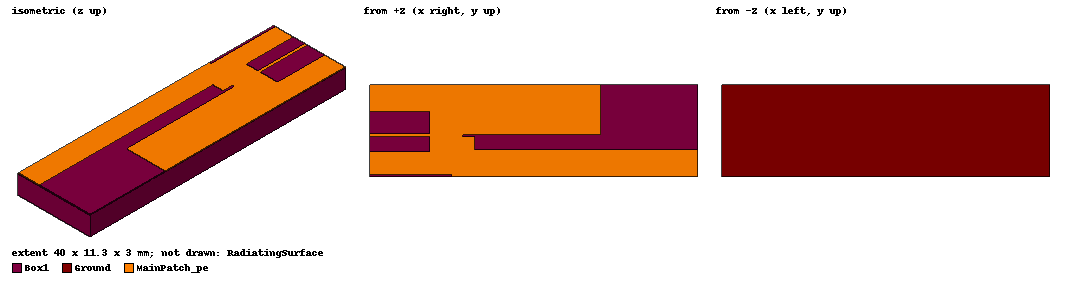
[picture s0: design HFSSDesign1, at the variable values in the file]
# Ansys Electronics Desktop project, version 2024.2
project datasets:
  $avg_epsilon_r: (10, 13000000) (100, 4500000) (1000, 180000) (10000, 12000) (100000, 4000) (1000000, 150) (10000000, 100) (100000000, 40) (1000000000, 31) (10000000000, 25)
  $avg_conductivity: (10, 0.1) (100, 0.13) (1000, 0.15) (10000, 0.17) (100000, 0.2) (1000000, 0.24) (10000000, 0.3) (100000000, 0.4) (1000000000, 0.8) (10000000000, 8)
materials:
  vacuum: permittivity=1
  marble: permittivity=8.3
  felt: permittivity=1.63 dielectric_loss_tangent=0.044
  humanaverage: permittivity=pwl($avg_epsilon_r,Freq) conductivity=pwl($avg_conductivity,Freq)

design HFSSDesign1 (HFSS, HFSS Terminal Network, model units mm)
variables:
  a = 0mm
  b = 0mm
  c = 0mm
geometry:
  Box1 [felt] = box(corner=(0mm, 0mm, 0mm), size=(40mm, 11.3mm, -3mm))
  Ground = rectangle(corner=(0mm, 0mm, -3mm), x_size=40mm, y_size=11.3mm)
  MainPatch_pe = rectangle(corner=(0mm, 0mm, 0mm), x_size=40mm, y_size=11.3mm)
  Top_Left_Rec = rectangle(corner=(40mm, 11.3mm, 0mm), x_size=-11.8mm, y_size=-6.1mm)
  Feed_left_Rec = rectangle(corner=(0mm, 8mm, 0mm), x_size=7.36mm, y_size=-2.7mm)
  RadiatingSurface [vacuum] = region(absolute_offset=40.816327mm on all sides)
  Divide_BigRec = rectangle(corner=(40mm, 5.2mm, 0mm), x_size=-27.2mm, y_size=-1.9mm)
  Center_pointRec = rectangle(corner=(12.8mm, 5.2mm, 0mm), x_size=-1.5mm, y_size=-0.3mm)
  Rectangle11 = rectangle(corner=(0mm, 6.2mm, 0mm), y_size=-2.2mm, z_size=-3mm)
  Feed_Right_Rec = rectangle(corner=(0mm, 4.9mm, 0mm), x_size=7.36mm, y_size=-1.8mm)
  LineRec_along_X_Main = rectangle(corner=(0mm, 0mm, 0mm), x_size=10mm, y_size=0.3mm)
  MainPatch_pe.subtract(Top_Left_Rec)
  MainPatch_pe.subtract(Center_pointRec, Divide_BigRec)
  MainPatch_pe.subtract(Feed_left_Rec, Feed_Right_Rec)
  MainPatch_pe.subtract(LineRec_along_X_Main)
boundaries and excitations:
  PerfE1: Perfect E Objects=Ground
  PerfE2: Perfect E Objects=MainPatch_pe
  Open1: Radiation Objects=RadiatingSurface
  1: Lumped Port Objects=Rectangle11 LumpedPortType=Modal Modes{Mode1{IntLine{(0, 5.1, -3) -> (0, 5.1, 0)} CharImp=Zpi}} Impedance=50ohm
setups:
  Setup1: HfssDriven Frequency=2.45GHz MaxDeltaS=0.02 MaximumPasses=10 MinimumPasses=1 MinimumConvergedPasses=1 PercentRefinement=30 BasisOrder=1 PortAccuracy=2 DrivenSolverType="Direct Solver"
    sweep Sweep: 0.5GHz to 8GHz step 0.01GHz; Type=Fast SaveFields
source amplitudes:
  1:1: 1V 0deg
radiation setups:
  3D: Infinite Sphere Theta=0deg..180deg step 2deg Phi=-180deg..180deg step 2deg
  Elevation: Infinite Sphere Theta=-180deg..180deg step 1deg Phi=0deg..90deg step 90deg
  Azimuth: Infinite Sphere Theta=90deg..90deg step 0deg Phi=-180deg..180deg step 1deg
  Antenna Parameter Overlay1: Antenna Overlay  SetupID=7 Solution=60 IntrinsicVariation="Freq=0.5GHz" UseNominalDesign Calculations="Max U,Peak Directivity,Peak Gain,Peak Realized Gain,Radiation Efficiency,Front To Back Ratio,Total Efficiency,System Efficiency"
  Infinite Sphere1: Infinite Sphere Theta=-180deg..180deg step 10deg Phi=0deg..360deg step 10deg
  Infinite Sphere2: Infinite Sphere Theta=0deg..180deg step 1deg Phi=0deg..360deg step 1deg
  Infinite Sphere3: Infinite Sphere Theta=0deg..360deg step 3deg Phi=0deg..90deg step 90deg
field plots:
  Mag_E1: E Field over MainPatch_pe.face(at (20, 5.65, 0)) on Setup1 : Sweep at Freq=2.9GHz Phase=0deg
  Mag_H1: H Field over MainPatch_pe.face(at (20, 5.65, 0)) on Setup1 : LastAdaptive at Freq=2.45GHz Phase=0deg
  Mag_Jsurf1, Mag_Jsurf2: Jsurf over MainPatch_pe.face(at (20, 5.65, 0)) on Setup1 : LastAdaptive at Freq=2.45GHz Phase=0deg
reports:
  S Parameter Plot 1: dB(S(1,1)) vs Freq on Setup1 : Sweep; markers m1 at 2.48GHz, m2 at 3.71GHz, m3 at 2.442801GHz, m4 at 2.5222169GHz, m5 at 3.6414527GHz, m6 at 3.7649763GHz
  VSWR Plot 1: dB(VSWR(1)) vs Freq on Setup1 : Sweep; markers m1 at 2.48GHz, m2 at 3.71GHz
  VSWR Plot 2: VSWR(1) vs Freq on Setup1 : Sweep; markers m1 at 2.48GHz, m2 at 3.71GHz
  Gain Plot 1: dB(GainTotal) vs Freq on Setup1 : Sweep, Infinite Sphere1 [Phi=0deg Theta=0deg]; markers m5 at 2.48GHz, m9 at 3.71GHz
  Gain Plot 2: dB(GainTotal) vs Freq on Setup1 : Sweep, Infinite Sphere1 [Phi=0deg Theta=0deg a=0mm b=0mm c=0mm]; markers m4 at 2.48GHz, m9 at 3.71GHz
  Antenna Params Plot 2: dB(RadiationEfficiency) vs Freq on Setup1 : Sweep [a=0mm b=0mm c=0mm]; markers m2 at 2.48GHz, m4 at 3.71GHz
  Antenna Params Plot 3: FrontToBackRatio vs Freq on Setup1 : Sweep; markers m3 at 2.48GHz, m4 at 3.71GHz
  Gain Plot 3: dB(GainTotal) vs Phi, Theta on Setup1 : LastAdaptive, 3D [Freq=2.45GHz]
  Gain Plot 4: dB(GainTotal) vs Theta on Setup1 : LastAdaptive, Infinite Sphere3 [Phi=all Freq=2.45GHz]; markers m1 at 360deg, m2 at 90deg, m3 at 90deg, m4 at 180deg, m5 at 270deg, m6 at 270deg
